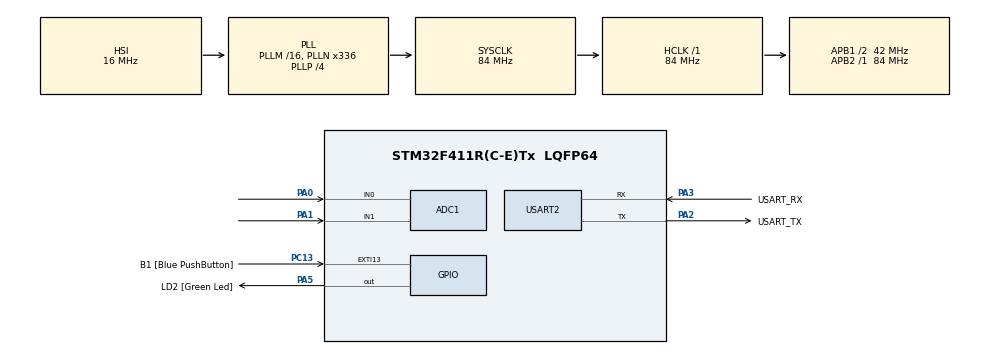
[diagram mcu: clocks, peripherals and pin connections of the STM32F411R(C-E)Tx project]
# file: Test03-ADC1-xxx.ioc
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ADC1.Channel-0\#ChannelRegularConversion=ADC_CHANNEL_0
ADC1.Channel-1\#ChannelRegularConversion=ADC_CHANNEL_1
ADC1.ContinuousConvMode=DISABLE
ADC1.DiscontinuousConvMode=ENABLE
ADC1.EOCSelection=ADC_EOC_SINGLE_CONV
ADC1.NbrOfConversion=2
ADC1.NbrOfConversionFlag=1
ADC1.Rank-0\#ChannelRegularConversion=1
ADC1.Rank-1\#ChannelRegularConversion=2
ADC1.SamplingTime-0\#ChannelRegularConversion=ADC_SAMPLETIME_3CYCLES
ADC1.SamplingTime-1\#ChannelRegularConversion=ADC_SAMPLETIME_3CYCLES
ADC1.ScanConvMode=ENABLE
ADC1.master=1
Mcu.Family=STM32F4
Mcu.Name=STM32F411R(C-E)Tx
Mcu.Package=LQFP64
NVIC.EXTI15_10_IRQn=true\:0\:0\:false\:false\:true\:true\:true\:true
NVIC.PriorityGroup=NVIC_PRIORITYGROUP_0
PA0-WKUP.Signal=ADCx_IN0
PA1.Signal=ADCx_IN1
PA13.GPIO_Label=TMS
PA13.Mode=Serial_Wire
PA13.Signal=SYS_JTMS-SWDIO
PA14.GPIO_Label=TCK
PA14.Mode=Serial_Wire
PA14.Signal=SYS_JTCK-SWCLK
PA2.GPIO_Label=USART_TX
PA2.Mode=Asynchronous
PA2.Signal=USART2_TX
PA3.GPIO_Label=USART_RX
PA3.Mode=Asynchronous
PA3.Signal=USART2_RX
PA5.GPIO_Label=LD2 [Green Led]
PA5.Signal=GPIO_Output
PB3.GPIO_Label=SWO
PB3.Signal=SYS_JTDO-SWO
PC13-ANTI_TAMP.GPIO_Label=B1 [Blue PushButton]
PC13-ANTI_TAMP.GPIO_ModeDefaultEXTI=GPIO_MODE_IT_FALLING
PC13-ANTI_TAMP.Signal=GPXTI13
PC14-OSC32_IN.Mode=LSE-External-Oscillator
PC14-OSC32_IN.Signal=RCC_OSC32_IN
PC15-OSC32_OUT.Mode=LSE-External-Oscillator
PC15-OSC32_OUT.Signal=RCC_OSC32_OUT
PH0\ -\ OSC_IN.Mode=HSE-External-Clock-Source
PH0\ -\ OSC_IN.Signal=RCC_OSC_IN
PH1\ -\ OSC_OUT.Mode=HSE-External-Clock-Source
PH1\ -\ OSC_OUT.Signal=RCC_OSC_OUT
ProjectManager.HeapSize=0x200
ProjectManager.StackSize=0x400
ProjectManager.TargetToolchain=STM32CubeIDE
RCC.48MHZClocksFreq_Value=84000000
RCC.AHBFreq_Value=84000000
RCC.APB1CLKDivider=RCC_HCLK_DIV2
RCC.APB1Freq_Value=42000000
RCC.APB1TimFreq_Value=84000000
RCC.APB2Freq_Value=84000000
RCC.APB2TimFreq_Value=84000000
RCC.CortexFreq_Value=84000000
RCC.FLatency-AdvancedSettings=FLASH_LATENCY_2
RCC.HCLKFreq_Value=84000000
RCC.HSE_VALUE=8000000
RCC.HSI_VALUE=16000000
RCC.PLLN=336
RCC.PLLP=RCC_PLLP_DIV4
RCC.SYSCLKFreq_VALUE=84000000
RCC.SYSCLKSource=RCC_SYSCLKSOURCE_PLLCLK
RCC.VCOOutputFreq_Value=336000000
SH.ADCx_IN0.0=ADC1_IN0,IN0
SH.ADCx_IN1.0=ADC1_IN1,IN1
TIM5.Prescaler=84-1
USART2.VirtualMode=VM_ASYNC
VP_TIM5_VS_ClockSourceINT.Mode=Internal
board=NUCLEO-F411RE

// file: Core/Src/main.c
/* USER CODE BEGIN Header */
/**
  ******************************************************************************
  * @file           : main.c
  * @brief          : Main program body
  ******************************************************************************
  * @attention
  *
  * Copyright (c) 2023 STMicroelectronics.
  * All rights reserved.
  *
  * This software is licensed under terms that can be found in the LICENSE file
  * in the root directory of this software component.
  * If no LICENSE file comes with this software, it is provided AS-IS.
  *
  ******************************************************************************
  */
/* USER CODE END Header */
#include "main.h"

ADC_HandleTypeDef hadc1;

TIM_HandleTypeDef htim5;

UART_HandleTypeDef huart2;

void SystemClock_Config(void);
static void MX_GPIO_Init(void);
static void MX_USART2_UART_Init(void);
static void MX_ADC1_Init(void);
static void MX_TIM5_Init(void);

/* USER CODE BEGIN 0 */
//int __io_getchar(void) __attribute__((weak));
int __io_putchar(int ch)
{
	HAL_UART_Transmit(&huart2, &ch, 1, 10);
	return ch;
}

void delay(int us)  // delay for micro-second
{
	int t1 = htim5.Instance->CNT;  // start time
	while(htim5.Instance->CNT - t1 < us) ;
}

int Mode = 0;
void HAL_GPIO_EXTI_Callback(uint16_t GPIO_Pin)
{
	if(GPIO_Pin == B1_Pin)
	{
		if(++Mode == 5) Mode = 0;
	}
}

int aval[10], idx = 0;
char es[100];
void HAL_ADC_ConvCpltCallback(ADC_HandleTypeDef* hadc)
{
	aval[idx++] = HAL_ADC_GetValue(&hadc1);
	//aval[idx++] = HAL_ADC_GetValue(&hadc1);
	if(idx >= 2)
	{
		//if(Mode > 0)
		{
			int x = 80 * aval[0] / 4095;
			int y = 24 * aval[1] / 4095;
			//printf("\x1b[2J\033[20A\033#1");
			//sprintf(es,"\x1b[%d;%dH", y, x);
			//printf(es);
			printf("\x1b[20;10H_O_");

		}
		idx = 0;
		//HAL_Delay(200);
		delay(500000);
	}
	HAL_ADC_Start_IT(&hadc1);
}

void GetADCPoll(int *val, int n)
{
	for(int i = 0;i<n;i++)
	{
		HAL_ADC_Start(&hadc1);
		HAL_ADC_PollForConversion(&hadc1, HAL_MAX_DELAY);
		val[i] = HAL_ADC_GetValue(&hadc1);
	}
}

/* USER CODE END 0 */

int main(void)
{

  /* MCU Configuration--------------------------------------------------------*/

  /* Reset of all peripherals, Initializes the Flash interface and the Systick. */
  HAL_Init();

  /* Configure the system clock */
  SystemClock_Config();

  /* Initialize all configured peripherals */
  MX_GPIO_Init();
  MX_USART2_UART_Init();
  MX_ADC1_Init();
  MX_TIM5_Init();
  /* USER CODE BEGIN 2 */
  printf("Program Ready\r\n");

  HAL_TIM_Base_Start(&htim5);
  //HAL_ADC_Start_IT(&hadc1);
  /* USER CODE END 2 */

  /* Infinite loop */
  /* USER CODE BEGIN WHILE */
  printf("\x1b[2J\033[20A\033#1");
  printf("Program Ready... press B1 button.. \r\n");
  while (1)
  {
    /* USER CODE END WHILE */

    /* USER CODE BEGIN 3 */
	if(Mode == 1)
	{
		GetADCPoll(aval,2);
		int x = 80 * aval[0] / 4095;
		int y = 24 * aval[1] / 4095;
		sprintf(es,"\x1b[%d;%dHO\r\n", y, x); printf(es);

		//printf("Polling method : x = %4d  y = %4d\r\n",aval[0], aval[1]);
		HAL_Delay(200);
	}
	if(Mode == 2)
	{
		//printf("Interrupt method : x = %4d  y = %4d\r\n",aval[0], aval[1]);
	}
  }
  /* USER CODE END 3 */
}

void SystemClock_Config(void)
{
  RCC_OscInitTypeDef RCC_OscInitStruct = {0};
  RCC_ClkInitTypeDef RCC_ClkInitStruct = {0};

  /** Configure the main internal regulator output voltage
  */
  __HAL_RCC_PWR_CLK_ENABLE();
  __HAL_PWR_VOLTAGESCALING_CONFIG(PWR_REGULATOR_VOLTAGE_SCALE1);

  /** Initializes the RCC Oscillators according to the specified parameters
  * in the RCC_OscInitTypeDef structure.
  */
  RCC_OscInitStruct.OscillatorType = RCC_OSCILLATORTYPE_HSI;
  RCC_OscInitStruct.HSIState = RCC_HSI_ON;
  RCC_OscInitStruct.HSICalibrationValue = RCC_HSICALIBRATION_DEFAULT;
  RCC_OscInitStruct.PLL.PLLState = RCC_PLL_ON;
  RCC_OscInitStruct.PLL.PLLSource = RCC_PLLSOURCE_HSI;
  RCC_OscInitStruct.PLL.PLLM = 16;
  RCC_OscInitStruct.PLL.PLLN = 336;
  RCC_OscInitStruct.PLL.PLLP = RCC_PLLP_DIV4;
  RCC_OscInitStruct.PLL.PLLQ = 4;
  if (HAL_RCC_OscConfig(&RCC_OscInitStruct) != HAL_OK)
  {
    Error_Handler();
  }

  /** Initializes the CPU, AHB and APB buses clocks
  */
  RCC_ClkInitStruct.ClockType = RCC_CLOCKTYPE_HCLK|RCC_CLOCKTYPE_SYSCLK
                              |RCC_CLOCKTYPE_PCLK1|RCC_CLOCKTYPE_PCLK2;
  RCC_ClkInitStruct.SYSCLKSource = RCC_SYSCLKSOURCE_PLLCLK;
  RCC_ClkInitStruct.AHBCLKDivider = RCC_SYSCLK_DIV1;
  RCC_ClkInitStruct.APB1CLKDivider = RCC_HCLK_DIV2;
  RCC_ClkInitStruct.APB2CLKDivider = RCC_HCLK_DIV1;

  if (HAL_RCC_ClockConfig(&RCC_ClkInitStruct, FLASH_LATENCY_2) != HAL_OK)
  {
    Error_Handler();
  }
}

static void MX_ADC1_Init(void)
{

  ADC_ChannelConfTypeDef sConfig = {0};

  /** Configure the global features of the ADC (Clock, Resolution, Data Alignment and number of conversion)
  */
  hadc1.Instance = ADC1;
  hadc1.Init.ClockPrescaler = ADC_CLOCK_SYNC_PCLK_DIV4;
  hadc1.Init.Resolution = ADC_RESOLUTION_12B;
  hadc1.Init.ScanConvMode = ENABLE;
  hadc1.Init.ContinuousConvMode = DISABLE;
  hadc1.Init.DiscontinuousConvMode = ENABLE;
  hadc1.Init.NbrOfDiscConversion = 1;
  hadc1.Init.ExternalTrigConvEdge = ADC_EXTERNALTRIGCONVEDGE_NONE;
  hadc1.Init.ExternalTrigConv = ADC_SOFTWARE_START;
  hadc1.Init.DataAlign = ADC_DATAALIGN_RIGHT;
  hadc1.Init.NbrOfConversion = 2;
  hadc1.Init.DMAContinuousRequests = DISABLE;
  hadc1.Init.EOCSelection = ADC_EOC_SINGLE_CONV;
  if (HAL_ADC_Init(&hadc1) != HAL_OK)
  {
    Error_Handler();
  }

  /** Configure for the selected ADC regular channel its corresponding rank in the sequencer and its sample time.
  */
  sConfig.Channel = ADC_CHANNEL_0;
  sConfig.Rank = 1;
  sConfig.SamplingTime = ADC_SAMPLETIME_3CYCLES;
  if (HAL_ADC_ConfigChannel(&hadc1, &sConfig) != HAL_OK)
  {
    Error_Handler();
  }

  /** Configure for the selected ADC regular channel its corresponding rank in the sequencer and its sample time.
  */
  sConfig.Channel = ADC_CHANNEL_1;
  sConfig.Rank = 2;
  if (HAL_ADC_ConfigChannel(&hadc1, &sConfig) != HAL_OK)
  {
    Error_Handler();
  }

}

static void MX_TIM5_Init(void)
{

  TIM_ClockConfigTypeDef sClockSourceConfig = {0};
  TIM_MasterConfigTypeDef sMasterConfig = {0};

  htim5.Instance = TIM5;
  htim5.Init.Prescaler = 84-1;
  htim5.Init.CounterMode = TIM_COUNTERMODE_UP;
  htim5.Init.Period = 4294967295;
  htim5.Init.ClockDivision = TIM_CLOCKDIVISION_DIV1;
  htim5.Init.AutoReloadPreload = TIM_AUTORELOAD_PRELOAD_DISABLE;
  if (HAL_TIM_Base_Init(&htim5) != HAL_OK)
  {
    Error_Handler();
  }
  sClockSourceConfig.ClockSource = TIM_CLOCKSOURCE_INTERNAL;
  if (HAL_TIM_ConfigClockSource(&htim5, &sClockSourceConfig) != HAL_OK)
  {
    Error_Handler();
  }
  sMasterConfig.MasterOutputTrigger = TIM_TRGO_RESET;
  sMasterConfig.MasterSlaveMode = TIM_MASTERSLAVEMODE_DISABLE;
  if (HAL_TIMEx_MasterConfigSynchronization(&htim5, &sMasterConfig) != HAL_OK)
  {
    Error_Handler();
  }

}

static void MX_USART2_UART_Init(void)
{

  huart2.Instance = USART2;
  huart2.Init.BaudRate = 115200;
  huart2.Init.WordLength = UART_WORDLENGTH_8B;
  huart2.Init.StopBits = UART_STOPBITS_1;
  huart2.Init.Parity = UART_PARITY_NONE;
  huart2.Init.Mode = UART_MODE_TX_RX;
  huart2.Init.HwFlowCtl = UART_HWCONTROL_NONE;
  huart2.Init.OverSampling = UART_OVERSAMPLING_16;
  if (HAL_UART_Init(&huart2) != HAL_OK)
  {
    Error_Handler();
  }

}

static void MX_GPIO_Init(void)
{
  GPIO_InitTypeDef GPIO_InitStruct = {0};

  /* GPIO Ports Clock Enable */
  __HAL_RCC_GPIOC_CLK_ENABLE();
  __HAL_RCC_GPIOH_CLK_ENABLE();
  __HAL_RCC_GPIOA_CLK_ENABLE();
  __HAL_RCC_GPIOB_CLK_ENABLE();

  /*Configure GPIO pin Output Level */
  HAL_GPIO_WritePin(LD2_GPIO_Port, LD2_Pin, GPIO_PIN_RESET);

  /*Configure GPIO pin : B1_Pin */
  GPIO_InitStruct.Pin = B1_Pin;
  GPIO_InitStruct.Mode = GPIO_MODE_IT_FALLING;
  GPIO_InitStruct.Pull = GPIO_NOPULL;
  HAL_GPIO_Init(B1_GPIO_Port, &GPIO_InitStruct);

  /*Configure GPIO pin : LD2_Pin */
  GPIO_InitStruct.Pin = LD2_Pin;
  GPIO_InitStruct.Mode = GPIO_MODE_OUTPUT_PP;
  GPIO_InitStruct.Pull = GPIO_NOPULL;
  GPIO_InitStruct.Speed = GPIO_SPEED_FREQ_LOW;
  HAL_GPIO_Init(LD2_GPIO_Port, &GPIO_InitStruct);

  /* EXTI interrupt init*/
  HAL_NVIC_SetPriority(EXTI15_10_IRQn, 0, 0);
  HAL_NVIC_EnableIRQ(EXTI15_10_IRQn);

}

void Error_Handler(void)
{
  __disable_irq();
  while (1)
  {
  }
}
